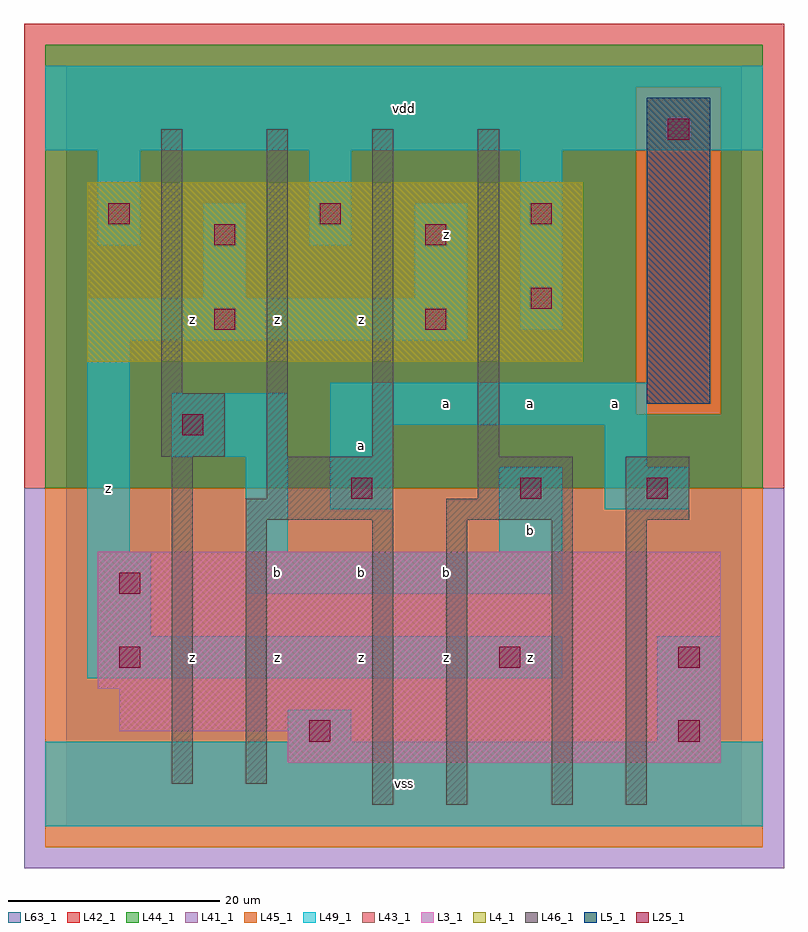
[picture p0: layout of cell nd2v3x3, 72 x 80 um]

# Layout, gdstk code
import gdstk
lib = gdstk.Library(unit=1e-6, precision=1e-09)
def R(c, l, rs):  # rectangles x0, y0, x1, y1
    for r in rs: c.add(gdstk.rectangle(r[:2], r[2:], *l))
def A(c, l, x, y, w, h, nx, ny, dx, dy):  # array of equal rectangles
    R(c, l, [(x+i*dx, y+j*dy, x+i*dx+w, y+j*dy+h) for i in range(nx) for j in range(ny)])
L3_1 = (3, 1)
L4_1 = (4, 1)
L5_1 = (5, 1)
L25_1 = (25, 1)
L41_1 = (41, 1)
L42_1 = (42, 1)
L43_1 = (43, 1)
L44_1 = (44, 1)
L45_1 = (45, 1)
L46_1 = (46, 1)
L49_1 = (49, 1)
L63_1 = (63, 1)

nd2v3x3 = lib.new_cell('nd2v3x3')
R(nd2v3x3, L3_1, [(21,6,62,9), (5,9,62,13), (3,13,62,26)])
R(nd2v3x3, L4_1, [(2,44,49,61)])
R(nd2v3x3, L5_1, [(55,40,61,69)])
A(nd2v3x3, L25_1, 4, 57, 2, 2, 3, 1, 20, 0)
R(nd2v3x3, L25_1, [(23,8,25,10), (58,8,60,10), (5,15,7,17), (41,15,43,17), (58,15,60,17), (5,22,7,24), (27,31,29,33), (43,31,45,33), (55,31,57,33), (11,37,13,39), (14,47,16,49), (34,47,36,49), (44,49,46,51), (14,55,16,57), (34,55,36,57), (57,65,59,67)])
R(nd2v3x3, L41_1, [(-4,-4,68,32)])
R(nd2v3x3, L42_1, [(-4,32,68,76)])
R(nd2v3x3, L43_1, [(21,6,62,9), (5,9,62,13), (3,13,62,26), (55,40,61,69), (2,44,49,61)])
R(nd2v3x3, L44_1, [(-2,32,66,39), (-2,39,54,70), (62,39,66,70), (-2,70,66,74)])
R(nd2v3x3, L45_1, [(-2,-2,66,32), (54,39,62,70)])
A(nd2v3x3, L46_1, 19, 35, 2, 31, 3, 1, 10, 0)
R(nd2v3x3, L46_1, [(29,2,31,29), (36,2,38,29), (46,2,48,29), (53,2,55,29), (10,4,12,35), (17,4,19,29), (17,29,31,31), (36,29,48,31), (53,29,59,35), (19,31,31,35), (39,31,48,35), (9,35,15,41), (9,41,11,66)])
R(nd2v3x3, L49_1, [(-2,0,66,8), (21,8,27,11), (56,8,62,18), (2,14,47,18), (2,18,8,26), (17,22,47,26), (2,26,6,46), (17,26,21,35), (41,26,47,34), (25,30,31,38), (51,30,59,34), (51,34,55,38), (10,35,21,41), (25,38,55,42), (2,46,38,50), (43,47,47,64), (13,50,17,59), (33,50,38,59), (3,55,7,64), (23,55,27,64), (-2,64,66,72)])
R(nd2v3x3, L63_1, [(0,0,64,72)])
nd2v3x3.add(gdstk.Label('z', (4,32), layer=49, texttype=1))
nd2v3x3.add(gdstk.Label('z', (20,16), layer=49, texttype=1))
nd2v3x3.add(gdstk.Label('z', (12,16), layer=49, texttype=1))
nd2v3x3.add(gdstk.Label('b', (20,24), layer=49, texttype=1))
nd2v3x3.add(gdstk.Label('z', (12,48), layer=49, texttype=1))
nd2v3x3.add(gdstk.Label('z', (20,48), layer=49, texttype=1))
nd2v3x3.add(gdstk.Label('vss', (32,4), layer=49, texttype=1))
nd2v3x3.add(gdstk.Label('z', (36,16), layer=49, texttype=1))
nd2v3x3.add(gdstk.Label('z', (28,16), layer=49, texttype=1))
nd2v3x3.add(gdstk.Label('b', (28,24), layer=49, texttype=1))
nd2v3x3.add(gdstk.Label('b', (36,24), layer=49, texttype=1))
nd2v3x3.add(gdstk.Label('a', (28,36), layer=49, texttype=1))
nd2v3x3.add(gdstk.Label('a', (36,40), layer=49, texttype=1))
nd2v3x3.add(gdstk.Label('z', (28,48), layer=49, texttype=1))
nd2v3x3.add(gdstk.Label('z', (36,56), layer=49, texttype=1))
nd2v3x3.add(gdstk.Label('vdd', (32,68), layer=49, texttype=1))
nd2v3x3.add(gdstk.Label('z', (44,16), layer=49, texttype=1))
nd2v3x3.add(gdstk.Label('b', (44,28), layer=49, texttype=1))
nd2v3x3.add(gdstk.Label('a', (44,40), layer=49, texttype=1))
nd2v3x3.add(gdstk.Label('a', (52,40), layer=49, texttype=1))

lib.write_gds('nd2v3x3.gds')
